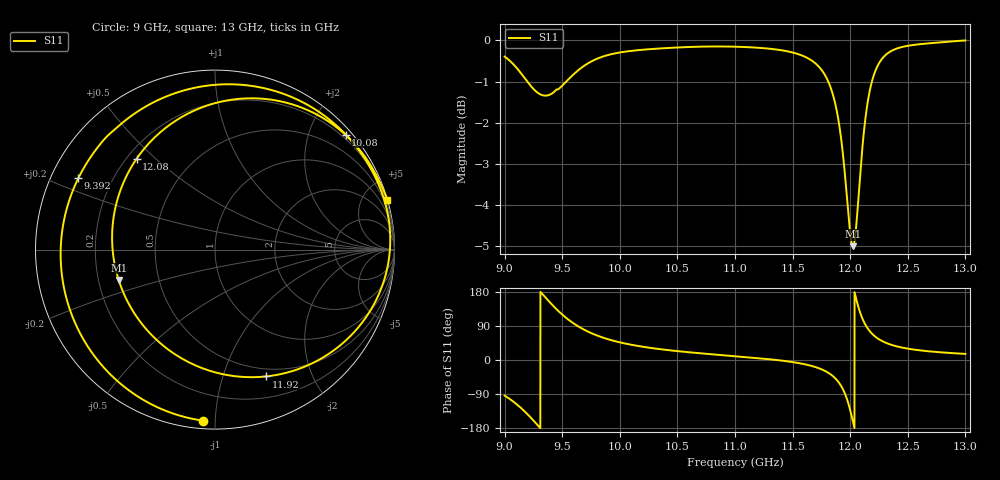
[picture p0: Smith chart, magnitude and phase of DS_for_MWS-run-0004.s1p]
! TOUCHSTONE file generated by CST DESIGN STUDIO
! Date and time: Tue Feb  4 13:55:41 2025
! Project name: C:\Work\MatlabApps\UnitCellOptimizationMatlab\CST\unitcell.cst
! Tree item: Tasks\Sweep1\SPara1\S-Parameters
! Header version: 2024
! Port assignment regex: !\s*Touchstone port\s*([0-9]+)\s*=\s*(CST MWS port|CST DES external port|CST DES block port)\s*(.+)\s* \(\"(.*)\"\)(\s*mode\s*([0-9]+))?.*
! Touchstone port assignment:
! Touchstone port 1 = CST DES external port 1 ("")
# GHz S MA R 50
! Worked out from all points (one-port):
!   4001 points, 9 GHz to 13 GHz, reference 50 ohm
!   lowest |S11| = -5.0 dB at 12.02 GHz (marker M1), VSWR 3.57, Z = 14.3 - j7.08 ohm
!   |S11| at or under -10 dB: nowhere
!   S11 on the Smith chart (normalised r, x): 9 GHz: 0.04, -0.93; 9.392 GHz: 0.08, +0.24; 10.08 GHz: 0.12, +2.65; 11.92 GHz: 0.42, -1.40; 12.08 GHz: 0.24, +0.44; 13 GHz: 0.01, +7.08
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9  0.9553 -93.9
9.122  0.9196 -121.2
9.239  0.8765 -155.9
9.315  0.8592 178.5
9.392  0.8591 152.4
9.5  0.8811 120.0
9.606  0.9113 95.1
9.742  0.9409 72.3
10  0.9666 46.6
10.08  0.9702 41.3
10.5  0.9802 23.4
11  0.9823 10.1
11.5  0.9665 -5.5
11.78  0.908 -28.6
11.858  0.8513 -44.8
11.92  0.7624 -67.9
11.963  0.6666 -95.4
12  0.5839 -132.1
12.024  0.5628 -162.5
12.051  0.5926 162.5
12.08  0.6683 130.9
12.11  0.7524 106.5
12.142  0.8239 87.9
12.19  0.8928 69.2
12.242  0.9335 56.2
12.346  0.9687 41.2
12.5  0.9848 30.0
13  0.9996 16.1
